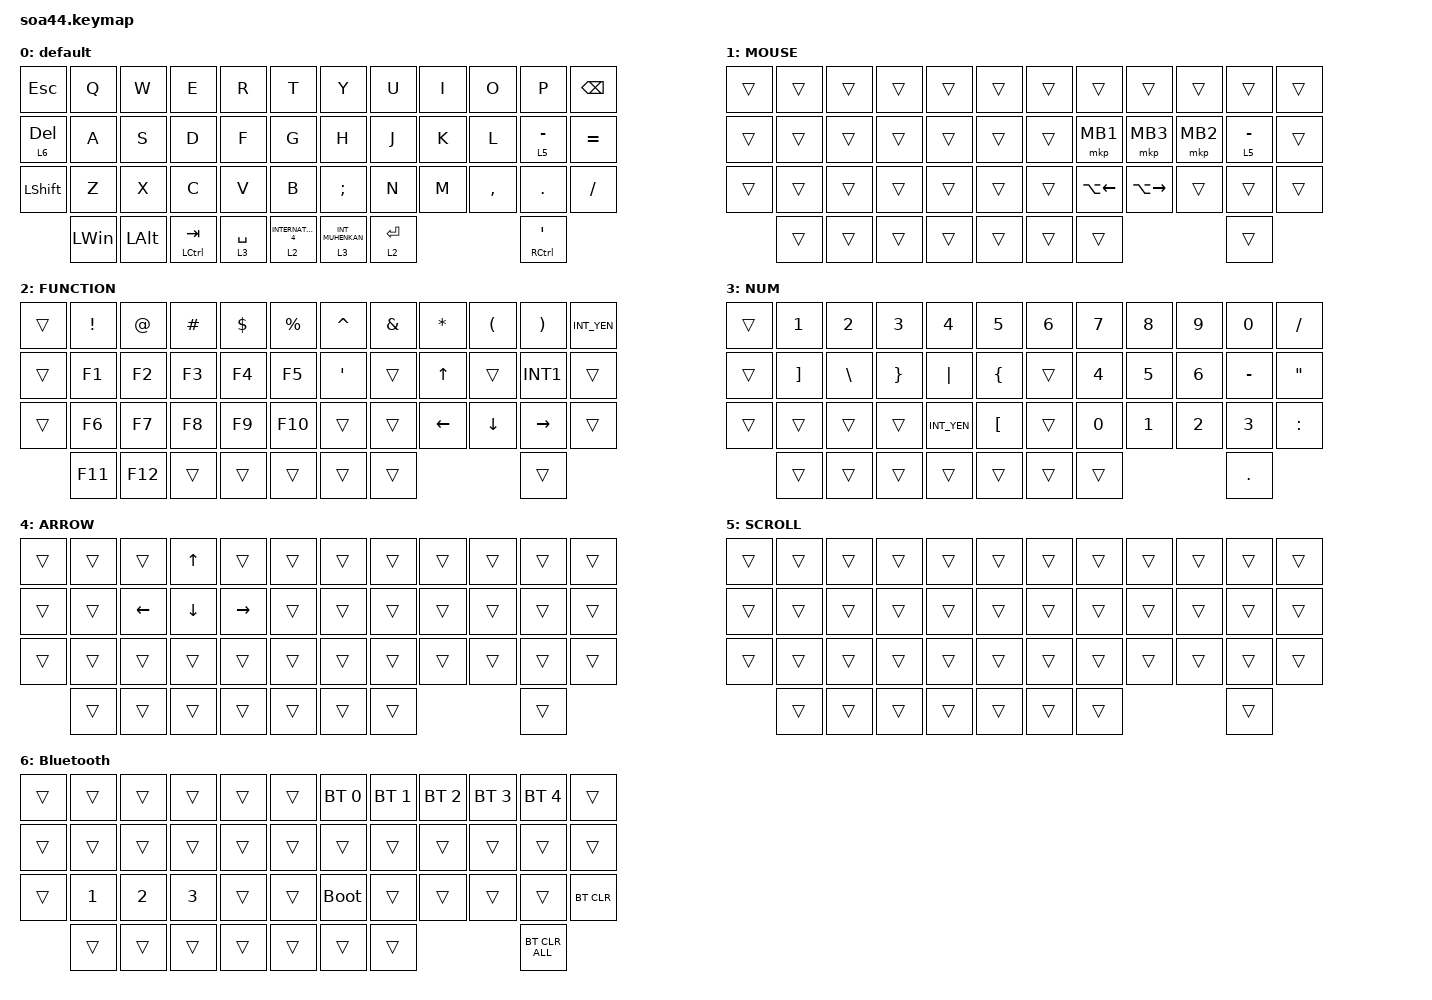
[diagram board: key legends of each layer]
#include <behaviors/rgbled_widget.dtsi>
#include <behaviors.dtsi>
#include <dt-bindings/zmk/bt.h>
#include <dt-bindings/zmk/keys.h>
#include <dt-bindings/zmk/pointing.h>

&mt {
    flavor = "balanced";
    quick-tap-ms = <0>;
};

&trackball {
    automouse-layer = <1>;
    scroll-layers = <5>;

    // arrows {
    //     layers = <3>;
    //     bindings =
    //         <&kp RIGHT_ARROW>,
    //         <&kp LEFT_ARROW>,
    //         <&kp UP_ARROW>,
    //         <&kp DOWN_ARROW>;
    //     tick = <10>;
    //     wait-ms = <5>;
    //     tap-ms = <5>;
    // };
};

/ {
    combos {
        compatible = "zmk,combos";

        tab {
            bindings = <&kp TAB>;
            key-positions = <11 12>;
        };

        shift_tab {
            bindings = <&kp LS(TAB)>;
            key-positions = <12 13>;
        };

        muhennkann {
            bindings = <&to_layer_0 INT_MUHENKAN>;
            key-positions = <11 10>;
        };

        double_quotation {
            bindings = <&kp DOUBLE_QUOTES>;
            key-positions = <20 21>;
        };

        eq {
            bindings = <&kp EQUAL>;
            key-positions = <24 25>;
        };
    };

    macros {
        to_layer_0: to_layer_0 {
            compatible = "zmk,behavior-macro-one-param";
            #binding-cells = <1>;
            bindings = <&to 0 &macro_param_1to1 &kp MACRO_PLACEHOLDER>;
            label = "TO_LAYER_0";
        };
    };

    behaviors {
        lt_to_layer_0: lt_to_layer_0 {
            compatible = "zmk,behavior-hold-tap";
            label = "LAYER_TAP_TO_0";
            bindings = <&mo>, <&to_layer_0>;

            #binding-cells = <2>;
            tapping-term-ms = <200>;
        };
    };

    keymap {
        compatible = "zmk,keymap";

        default {
            bindings = <
&kp ESCAPE      &kp Q         &kp W         &kp E          &kp R        &kp T                  &kp Y               &kp U        &kp I  &kp O      &kp P           &kp BACKSPACE
&lt 6 DEL       &kp A         &kp S         &kp D          &kp F        &kp G                  &kp H               &kp J        &kp K  &kp L      &lt 5 MINUS     &kp EQUAL
&kp LEFT_SHIFT  &kp Z         &kp X         &kp C          &kp V        &kp B                  &kp SEMI            &kp N        &kp M  &kp COMMA  &kp DOT         &kp SLASH
                &kp LEFT_WIN  &kp LEFT_ALT  &mt LCTRL TAB  &lt 3 SPACE  &lt 2 INTERNATIONAL_4  &lt 3 INT_MUHENKAN  &lt 2 ENTER                    &mt RCTRL APOS
            >;
        };

        MOUSE {
            bindings = <
&trans  &trans  &trans  &trans  &trans  &trans  &trans  &trans        &trans         &trans    &trans       &trans
&trans  &trans  &trans  &trans  &trans  &trans  &trans  &mkp MB1      &mkp MB3       &mkp MB2  &lt 5 MINUS  &trans
&trans  &trans  &trans  &trans  &trans  &trans  &trans  &kp LA(LEFT)  &kp LA(RIGHT)  &trans    &trans       &trans
        &trans  &trans  &trans  &trans  &trans  &trans  &trans                                 &trans
            >;
        };

        FUNCTION {
            bindings = <
&trans  &kp EXCLAMATION  &kp AT_SIGN  &kp HASH  &kp DOLLAR  &kp PERCENT  &kp CARET  &kp AMPERSAND  &kp ASTERISK    &kp LEFT_PARENTHESIS  &kp RIGHT_PARENTHESIS  &kp INT_YEN
&trans  &kp F1           &kp F2       &kp F3    &kp F4      &kp F5       &kp APOS   &trans         &kp UP_ARROW    &trans                &kp INT1               &trans
&trans  &kp F6           &kp F7       &kp F8    &kp F9      &kp F10      &trans     &trans         &kp LEFT_ARROW  &kp DOWN_ARROW        &kp RIGHT_ARROW        &trans
        &kp F11          &kp F12      &trans    &trans      &trans       &trans     &trans                                               &trans
            >;
        };

        NUM {
            bindings = <
&trans  &kp N1             &kp N2         &kp N3           &kp N4       &kp N5            &kp N6  &kp N7  &kp N8  &kp N9  &kp N0      &kp SLASH
&trans  &kp RIGHT_BRACKET  &kp BACKSLASH  &kp RIGHT_BRACE  &kp PIPE     &kp LEFT_BRACE    &trans  &kp N4  &kp N5  &kp N6  &kp MINUS   &kp DOUBLE_QUOTES
&trans  &trans             &trans         &trans           &kp INT_YEN  &kp LEFT_BRACKET  &trans  &kp N0  &kp N1  &kp N2  &kp N3      &kp COLON
        &trans             &trans         &trans           &trans       &trans            &trans  &trans                  &kp PERIOD
            >;
        };

        ARROW {
            bindings = <
&trans  &trans  &trans    &kp UP    &trans     &trans  &trans  &trans  &trans  &trans  &trans  &trans
&trans  &trans  &kp LEFT  &kp DOWN  &kp RIGHT  &trans  &trans  &trans  &trans  &trans  &trans  &trans
&trans  &trans  &trans    &trans    &trans     &trans  &trans  &trans  &trans  &trans  &trans  &trans
        &trans  &trans    &trans    &trans     &trans  &trans  &trans                  &trans
            >;
        };

        SCROLL {
            bindings = <
&trans  &trans  &trans  &trans  &trans  &trans  &trans  &trans  &trans  &trans  &trans  &trans
&trans  &trans  &trans  &trans  &trans  &trans  &trans  &trans  &trans  &trans  &trans  &trans
&trans  &trans  &trans  &trans  &trans  &trans  &trans  &trans  &trans  &trans  &trans  &trans
        &trans  &trans  &trans  &trans  &trans  &trans  &trans                  &trans
            >;
        };

        Bluetooth {
            bindings = <
&trans  &trans        &trans        &trans        &trans  &trans  &bt BT_SEL 0  &bt BT_SEL 1  &bt BT_SEL 2  &bt BT_SEL 3  &bt BT_SEL 4    &trans
&trans  &trans        &trans        &trans        &trans  &trans  &trans        &trans        &trans        &trans        &trans          &trans
&trans  &kp NUMBER_1  &kp NUMBER_2  &kp NUMBER_3  &trans  &trans  &bootloader   &trans        &trans        &trans        &trans          &bt BT_CLR
        &trans        &trans        &trans        &trans  &trans  &trans        &trans                                    &bt BT_CLR_ALL
            >;
        };
    };
};
